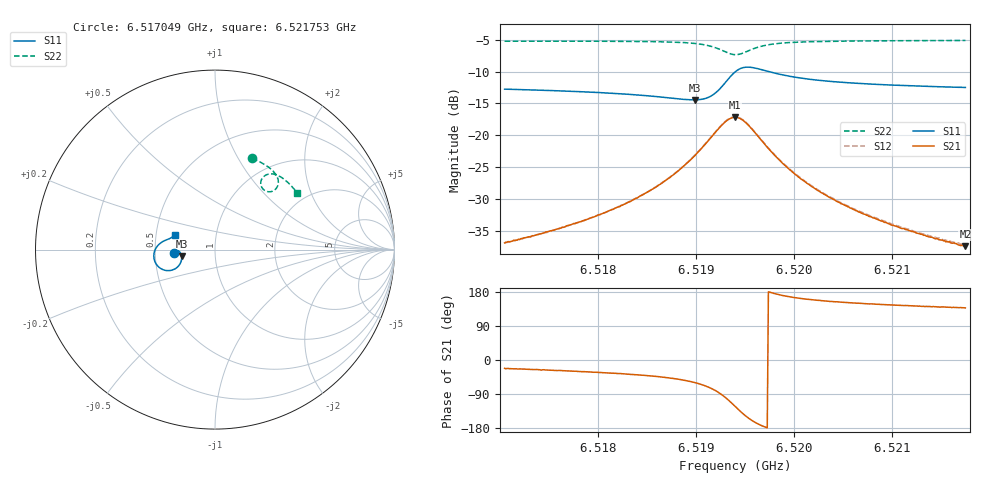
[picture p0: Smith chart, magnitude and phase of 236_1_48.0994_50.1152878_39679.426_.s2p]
#  HZ  S  RI  R  50.00
! Rohde & Schwarz Vector Network Analyzer
! Rohde-Schwarz,ZNB20-2Port,1311601062101988,3.16
! Created: UTC 12/23/2023, 3:58:16 AM
! freq[Hz]  re:S11  im:S11  re:S21  im:S21  re:S12  im:S12  re:S22  im:S22
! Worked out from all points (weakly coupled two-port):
!   401 points, 6.517049 GHz to 6.521753 GHz, reference 50 ohm
!   highest |S21| = -17.17 dB at 6.519401 GHz (marker M1); lowest = -37.4 dB at 6.521753 GHz (marker M2)
!   lowest |S11| = -14.4 dB at 6.518989 GHz (marker M3), VSWR 1.47, Z = 34.2 - j2.55 ohm
!   |S11| at or under -10 dB: start of sweep to 6.519405 GHz; 6.519749 GHz to end of sweep
!   |S22| runs from -7.3 to -5.1 dB; largest |S21 - S12| = 0.0042
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6.5170487e9  -0.2299 -0.0162  0.0132 -0.00536  0.0133 -0.0049  0.2065 0.5081
6.5174604e9  -0.2253 -0.0103  0.0155 -0.00763  0.0157 -0.0071  0.237 0.495
6.5178367e9  -0.2197 -0.00603  0.0181 -0.0108  0.0185 -0.0102  0.2647 0.4806
6.5182484e9  -0.2116 -0.00407  0.0228 -0.0167  0.0233 -0.0159  0.2956 0.4611
6.5186248e9  -0.2003 -0.00901  0.0293 -0.0284  0.0302 -0.0276  0.3247 0.4363
6.5188012e9  -0.1935 -0.017  0.0329 -0.0391  0.0342 -0.0382  0.3384 0.4197
6.5189894e9  -0.1864 -0.0359  0.035 -0.0594  0.0371 -0.0589  0.3507 0.3936
6.5190952e9  -0.1864 -0.0554  0.0317 -0.0786  0.0344 -0.0782  0.3528 0.3722
6.5191775e9  -0.1936 -0.0772  0.022 -0.0981  0.0251 -0.0982  0.3478 0.3519
6.5193069e9  -0.2366 -0.1133  -0.0219 -0.1267  -0.0183 -0.1283  0.3147 0.3236
6.519401e9  -0.2946 -0.1095  -0.0736 -0.1174  -0.0707 -0.1205  0.2744 0.331
6.5194598e9  -0.3246 -0.085  -0.0976 -0.0927  -0.0957 -0.0963  0.2582 0.3521
6.5195186e9  -0.3391 -0.0529  -0.1069 -0.0633  -0.106 -0.0668  0.2551 0.3763
6.5196127e9  -0.3366 -0.00876  -0.1 -0.0258  -0.1001 -0.0288  0.2693 0.4046
6.5197186e9  -0.3202 0.0209  -0.0825 -0.00311  -0.0831 -0.00551  0.2922 0.4189
6.519942e9  -0.2891 0.0458  -0.0538 0.0118  -0.0548 0.0106  0.3313 0.4197
6.520189e9  -0.2686 0.0552  -0.0367 0.0141  -0.0376 0.0132  0.3601 0.4085
6.5203772e9  -0.2585 0.0591  -0.0291 0.0138  -0.0299 0.0131  0.3767 0.3979
6.5205889e9  -0.2501 0.0628  -0.0233 0.0129  -0.0238 0.0124  0.3928 0.3856
6.520977e9  -0.2391 0.0683  -0.0166 0.0114  -0.0173 0.0112  0.4178 0.3625
6.5213769e9  -0.2308 0.0739  -0.0124 0.00996  -0.013 0.00983  0.4399 0.3383
6.5217533e9  -0.2242 0.0789  -0.00992 0.00909  -0.0103 0.00898  0.4585 0.315
